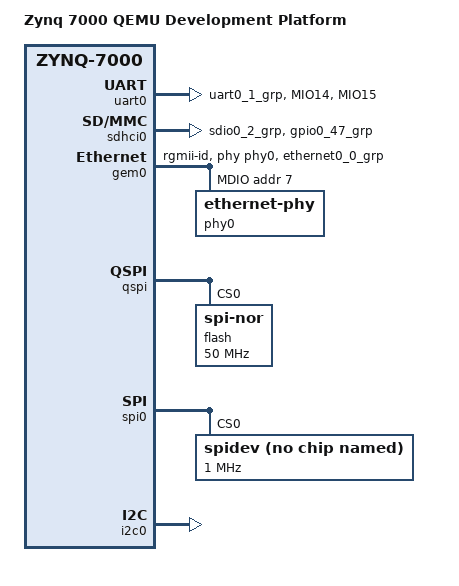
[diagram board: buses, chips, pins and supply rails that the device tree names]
/*
 * Top level QEMU device tree for Zynq 7000-based board
 */

/dts-v1/;
/ {
	model = "Zynq 7000 QEMU Development Platform";
	compatible = "xlnx,zynq-7000";

};

/* Verified in the pinctrl-zynq.c driver source code */
#define SLEW_RATE_SLOW 0
#define SLEW_RATE_FAST 1

/* From include/dt-bindings/pinctrl/pinctrl-zynq.h */
#define IO_STANDARD_LVCMOS18	1
#define IO_STANDARD_LVCMOS25	2
#define IO_STANDARD_LVCMOS33	3
#define IO_STANDARD_HSTL	4

/* From linux-xlnx/arch/arm/boot/dts/xilinx/ fork */
#include "zynq-7000.dtsi"
/* Kernel bindings */
#include <dt-bindings/interrupt-controller/irq.h>
#include <dt-bindings/gpio/gpio.h>

/* 
 * Fix some warnings in the Zynq 7000 default configuration for
 * components advertising themsleves as interrupt controllers
 */
&intc {
	#address-cells = <0>;
	#size-cells = <0>;
};

&gpio0 {
	#address-cells = <1>;
	#size-cells = <0>;
};

/* Configure the MIO - probably the most sanguine comment ever made. */
&pinctrl0 {

	/* UART0 - See UG585 Table 19-4 for MIO pin assignments */
	pinctrl_uart0_default: uart0_default {
		/* Groups and MIO pins are found in drivers/pinctrl/pinctrl-zynq.c */
		mux {
			groups = "uart0_1_grp";
			function = "uart0";
		};
		conf {
			groups = "uart0_1_grp";
			power-source = <IO_STANDARD_LVCMOS33>;
		};
		conf-rx {
			pins = "MIO14";
			/* RX pin is actively listening */
			bias-high-impedance;
		};
		conf-tx {
			pins = "MIO15";
			/* TX pin is being driven, so disable all pull up/down */
			bias-disable;
		};
	};

	/* SDIO0 - See UG585 Table 13-1 for MIO pin assignments */
	pinctrl_sdhci0_pins_default: sdhci0_pins_default {
		/*
		* The SDHI interface is split into two groups, one for data, command and
		* clock, the second for the card detect (CD) signal. The Arty does not use
		* the WC or PC pins.
		*/
		mux {
			groups = "sdio0_2_grp";
			function = "sdio0";
		};
		conf {
			/* SDIO spec requires pullups and the board doesn't have any */
			bias-pullup;
			power-source = <IO_STANDARD_LVCMOS33>;
		};
	};

	pinctrl_sdhci0_cd_default: sdhci0_cd_default {
		/* Per UG585, the card detect (CD) pin can be attached to any pin except
		 * MIO 7 and 8. MIO
		 */
		mux {
			groups = "gpio0_47_grp";
			function = "sdio0_cd";
		};
		conf {
			/* SD card detect is pulled up to 1.8V on the board */
			bias-disable;
			power-source = <IO_STANDARD_LVCMOS18>;
		};
	};

	/* GEM0 - See UG585 Table 16-10 for GEM and MDIO MIO pin assignments */
	pinctrl_ethernet0_pins_default: ethernet0_pins_default {
		mux {
			groups = "ethernet0_0_grp";
			function = "ethernet0";
		};
		conf {
			groups = "ethernet0_0_grp";
			/* Data lines from the controller to the PHY actively driven */
			bias-disable;
			power-source = <IO_STANDARD_LVCMOS18>;
		};
	};

	pinctrl_ethernet0_mdio_default: ethernet0_mdio_default {
		mux {
			/* MDIO and MDC pins */
			groups = "mdio0_0_grp";
			function = "mdio0";
		};
		conf {
			groups = "mdio0_0_grp";
			/* 
			 * PHY MDIO is pulled up on the board. MDC is push /pull and does not
			 * need internal bias
			 */
			bias-disable;
			power-source = <IO_STANDARD_LVCMOS18>;
		};
	};

	pinctrl_ethernet0_reset_default: ethernet0_reset_default {
		mux {
			groups = "gpio0_9_grp";
			function = "gpio0";
		};
		conf {
			groups = "gpio0_9_grp";
			/* PHY reset is pulled up on the board */
			bias-disable;
			power-source = <IO_STANDARD_LVCMOS33>;
		};
	};

	pinctrl_ethernet0_irq_default: ethernet0_irq_default {
		mux {
			groups = "gpio0_10_grp";
			function = "gpio0";
		};
		conf {
			groups = "gpio0_10_grp";
			/* PHY IRQB is open drain and not pulled up on the board */
			bias-pullup;
			power-source = <IO_STANDARD_LVCMOS33>;
		};
	};

	pinctrl_ck_reset_default: ck_reset_default {
		mux {
			groups = "gpio0_12_grp";
			function = "gpio0";
		};
		conf {
			groups = "gpio0_12_grp";
			/* CK_RST pulled up on the board */
			bias-disable;
			power-source = <IO_STANDARD_LVCMOS33>;
		};
	};

	pinctrl_usbhost_oc_default: usbhost_oc_default {
		mux {
			groups = "gpio0_11_grp";
			function = "gpio0";
		};
		conf {
			groups = "gpio_0_11_grp";
			/* TODO Need to figure out how this needs to get confiured */
			power-source = <IO_STANDARD_LVCMOS33>;
		};
	};

	pinctrl_usbhost_reset_default: usbhost_reset_default {
		mux {
			groups = "gpio_0_46_grp";
			function = "gpio0";
		};
		conf {
			groups = "gpio_0_46_grp";
			/* TODO Need to figure out how this needs to get confiured */
			power-source = <IO_STANDARD_LVCMOS18>;
		};
	};
};

&gpio0 {
	status = "okay";
	pinctrl-names = "default";
	pinctrl-0 = <&pinctrl_ethernet0_reset_default>, <&pinctrl_ethernet0_irq_default>;
};

&uart0 {
	bootph-all;
	status = "okay";
	pinctrl-names = "default";
	pinctrl-0 = <&pinctrl_uart0_default>;
};

&sdhci0 {
	bootph-all;
	status = "okay";
	pinctrl-names = "default";
	pinctrl-0 = <&pinctrl_sdhci0_pins_default>, <&pinctrl_sdhci0_cd_default>;
};

&gem0 {
	status = "okay";
	phy-mode = "rgmii-id";
	phy-handle = <&phy0>;
	pinctrl-names = "default";
	pinctrl-0 = <&pinctrl_ethernet0_pins_default>;
	/* These are possibly vestigial properties but they work in QEMU */
	phy-reset-gpio = <&gpio0 9 0>;
	phy-reset-active-low;

	/delete-property/ #address-cells;
	/delete-property/ #size-cells;

	mdio {
		#address-cells = <1>;
		#size-cells = <0>;

		phy0: ethernet-phy@7 {
			reg = <7>;
		};
	};
};

&qspi {
	status = "okay";

	flash@0 {
		/* 
		 * Micron N25Q128A13 responds to READ ID 0x9F - see section 11.2.2
		 * and does not need a specific compatible string
		 */
		compatible = "jedec,spi-nor";
		/* Corresponds to CS0 and possibly irrelevant in this case */
		reg = <0>;
		/* 
		 * The max freq on the datasheet is 103MHz, but unclear what mode to use.
		 * There may also be a limitation of the clock rate based on the fact
		 * that it uses the STARTUPE2 primitive or something like that
		 */
		spi-max-frequency = <50000000>;	
		spi-rx-bus-width = <4>;
		spi-tx-bus-width = <4>;
	};
};

/* 
 * The SPI0 and SPI1 buses require use of the EMIO. Also note that there
 * is no dedicated chip select on the board and it is expected that a PL
 * GPIO will be manually assigned as a SPI CS. This is just enabled to
 * see if the driver probes.
 */
&spi0 {
	status = "okay";
	num-cs = <4>;

	/* Add a dummy SPI device here so entries in /sys/bus/spi will get created */
	spidev@0 {
		compatible = "spidev";
		reg = <0>;
		spi-max-frequency = <1000000>;
	};
};
/*
 * Same story with the I2C interface as well - these use the EMIO on the Arty
 */
&i2c0 {
	status = "okay";
};

